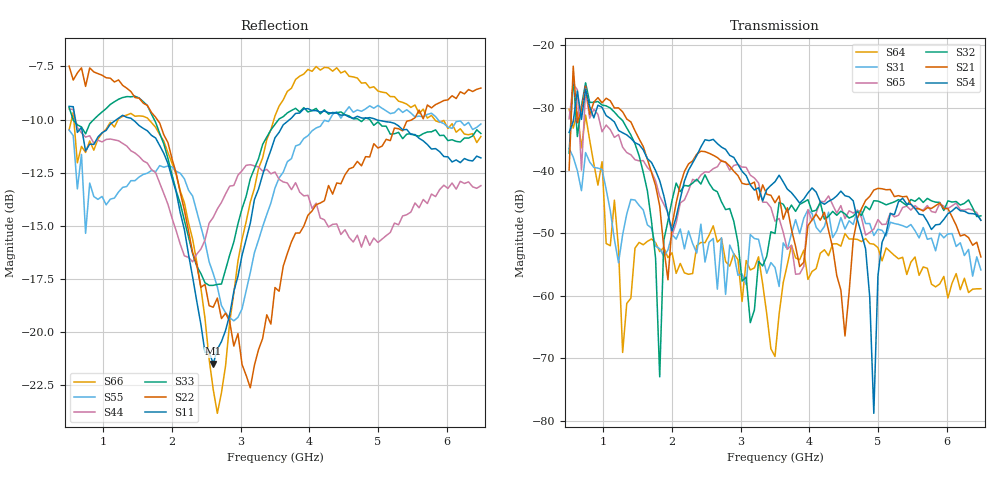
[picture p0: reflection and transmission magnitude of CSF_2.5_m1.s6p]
!Keysight Technologies,M9804A,MY58100912,A.14.10.03
!Date: Thursday, April 27, 2023 10:28:33
!Correction: S11(C  6-Port  )
!S12(C  6-Port  )
!S13(C  6-Port  )
!S14(C  6-Port  )
!S15(C  6-Port  )
!S16(C  6-Port  )
!S21(C  6-Port  )
!S22(C  6-Port  )
!S23(C  6-Port  )
!S24(C  6-Port  )
!S25(C  6-Port  )
!S26(C  6-Port  )
!S31(C  6-Port  )
!S32(C  6-Port  )
!S33(C  6-Port  )
!S34(C  6-Port  )
!S35(C  6-Port  )
!S36(C  6-Port  )
!S41(C  6-Port  )
!S42(C  6-Port  )
!S43(C  6-Port  )
!S44(C  6-Port  )
!S45(C  6-Port  )
!S46(C  6-Port  )
!S51(C  6-Port  )
!S52(C  6-Port  )
!S53(C  6-Port  )
!S54(C  6-Port  )
!S55(C  6-Port  )
!S56(C  6-Port  )
!S61(C  6-Port  )
!S62(C  6-Port  )
!S63(C  6-Port  )
!S64(C  6-Port  )
!S65(C  6-Port  )
!S66(C  6-Port  )
!S6P File: Measurement: :
# Hz S  RI  R 50
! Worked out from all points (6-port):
!   101 points, 500 MHz to 6.5 GHz, reference 50 ohm
!   strongest paths, dB at 500 MHz, 2 GHz, 3.5 GHz, 5 GHz, 6.5 GHz:
!     S54: -33.9, -49.6, -41.8, -56.8, -47.9
!     S21: -39.9, -48.7, -45.1, -42.8, -53.8
!     S32: -37.2, -44.8, -50.0, -44.9, -47.2
!     S65: -31.7, -50.4, -48.1, -47.8, -47.9
!     S31: -36.5, -50.2, -55.5, -49.4, -55.9
!     S64: -30.2, -53.1, -69.7, -52.3, -58.9
!   lowest |S11| = -21.5 dB at 2.6 GHz (marker M1), VSWR 1.18, Z = 42.5 + j2.19 ohm
!   |S11| at or under -10 dB: 590.1 MHz to 1.192 GHz (601.7 MHz wide, 67.5 % of centre); 1.425 GHz to 3.713 GHz (2.288 GHz wide, 89.1 % of centre); 4.975 GHz to end of sweep
